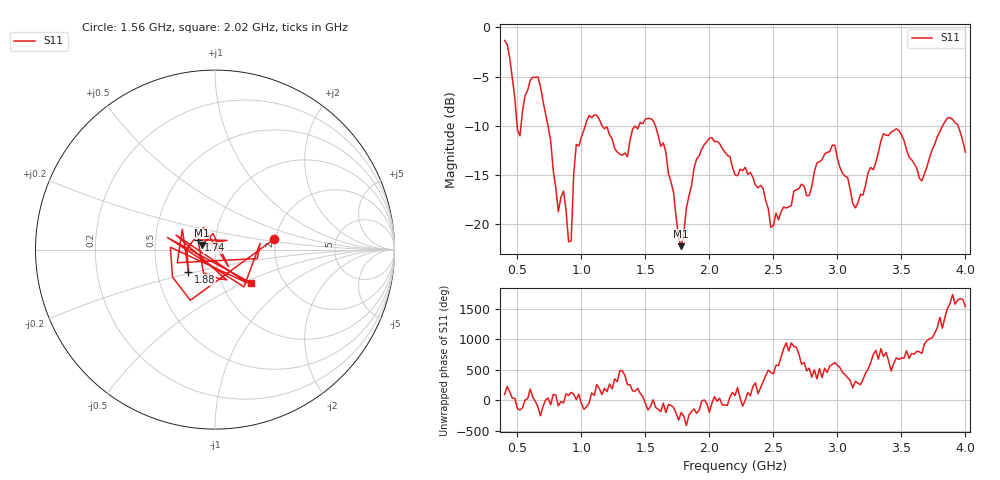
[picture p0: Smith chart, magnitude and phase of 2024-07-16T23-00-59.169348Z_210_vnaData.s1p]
!Created with skrf (http://scikit-rf.org).
# Hz S RI R 50.0
!freq ReS11 ImS11
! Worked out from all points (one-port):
!   181 points, 400 MHz to 4 GHz, reference 50 ohm
!   lowest |S11| = -22.2 dB at 1.78 GHz (marker M1), VSWR 1.17, Z = 43.1 + j2.27 ohm
!   |S11| at or under -10 dB: 739 MHz to 1.03 GHz (290.8 MHz wide, 32.9 % of centre); 1.162 GHz to 1.449 GHz (287.3 MHz wide, 22 % of centre); 1.578 GHz to 3.821 GHz (2.243 GHz wide, 83.1 % of centre) (the widest 3 of 5)
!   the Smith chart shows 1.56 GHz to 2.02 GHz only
!   S11 on the Smith chart (normalised r, x): 1.56 GHz: 1.97, +0.26; 1.74 GHz: 0.82, +0.09; 1.88 GHz: 0.72, -0.19; 2.02 GHz: 1.38, -0.56
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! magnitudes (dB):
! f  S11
! 400 MHz  -1.3
! 500 MHz  -10.4
! 660 MHz  -5.0
! 820 MHz  -18.7
! 860 MHz  -16.6
! 920 MHz  -21.7
! 960 MHz  -11.9
! 1.06 GHz  -8.9
! 1.3 GHz  -12.9
! 1.56 GHz  -9.5
! 1.74 GHz  -19.3
! 1.76 GHz  -21.4
! 1.78 GHz  -22.2
! 1.88 GHz  -14.3
! 2.02 GHz  -11.2
! 2.2 GHz  -15.0
! 2.42 GHz  -16.4
! 2.48 GHz  -20.3
! 2.66 GHz  -16.6
! 2.78 GHz  -17.1
! 2.96 GHz  -12.0
! 3.1 GHz  -16.5
! 3.14 GHz  -18.3
! 3.36 GHz  -10.8
! 3.56 GHz  -13.2
! 3.66 GHz  -15.6
! 3.88 GHz  -9.2
! 4 GHz  -12.7
